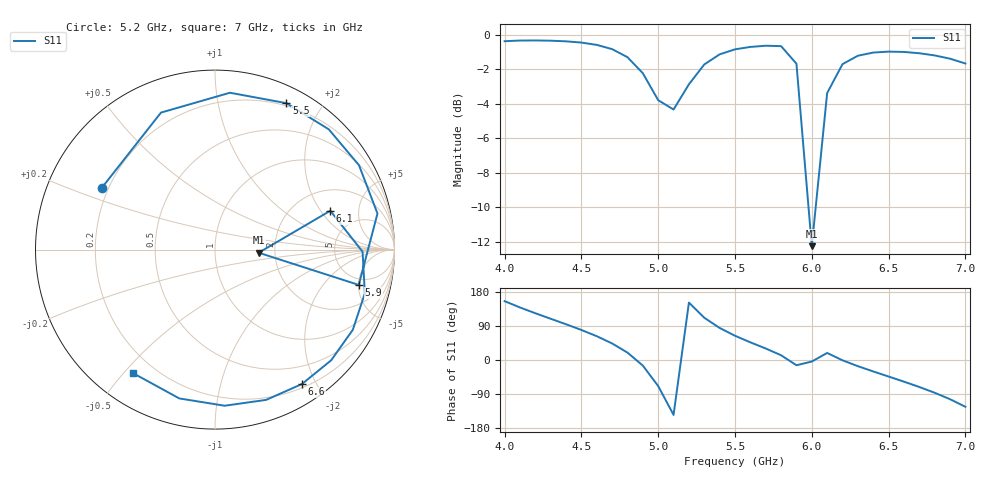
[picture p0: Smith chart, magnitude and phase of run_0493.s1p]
! Touchstone file exported from HFSS 2024.2.0
!  File:  C:/Users/wsak9/Desktop/Sim Fast/Widenad Patch/WP_AI_V1_sweep.aedt
!  Generated:  12:42:52 PM Oct 14, 2026
!  Design:  A1_model
!  Project:  WP_AI_V1_sweep
!  Setup:  Setup1
!  Solution:  Sweep
! Variables:
!  Air_gap = 4.5mm
!  Curve_Amp1 = 3.97
!  Curve_len1 = 1
!  Curve_pos = 10.145mm
!  Extra = 5.07mm
!  H_sub = 0.79mm
!  L_Patch = 16.29mm
!  L_Patch1 = 19.39mm
!  Sx = 3.59mm
!  Sy = 1.59mm
!  WS = 0.44mm
!  W_Patch = 12.64mm
!  W_Patch1 = 14.32mm
!Data is not renormalized
# GHz S MA
! Terminal data exported
! Port[1] = 1
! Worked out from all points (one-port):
!   31 points, 4 GHz to 7 GHz, reference per port
!   lowest |S11| = -12.3 dB at 6 GHz (marker M1), VSWR 1.65
!   |S11| at or under -10 dB: 5.979 GHz to 6.025 GHz (46.72 MHz wide, 0.778 % of centre)
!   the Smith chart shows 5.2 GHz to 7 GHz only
!   S11 on the Smith chart (normalised r, x): 5.2 GHz: 0.17, +0.25; 5.5 GHz: 0.17, +1.59; 5.9 GHz: 4.08, -5.02; 6.1 GHz: 3.09, +2.48; 6.6 GHz: 0.25, -1.81; 7 GHz: 0.12, -0.53
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4  0.9583 155.3
4.2  0.9631 123.4
4.4  0.9576 94.3
4.5  0.9496 79.3
4.6  0.9351 62.8
4.7  0.909 43.7
4.8  0.8612 19.5
4.9  0.7739 -14.8
5  0.6463 -68.8
5.1  0.6074 -144.9
5.2  0.7187 151.5
5.3  0.8205 111.5
5.4  0.8779 84.6
5.5  0.9077 64.0
5.6  0.9224 46.6
5.7  0.9298 30.4
5.8  0.9273 12.5
5.9  0.8248 -13.8
6  0.2439 -4.1
6.1  0.6779 18.6
6.2  0.8223 -0.8
6.3  0.8698 -16.3
6.4  0.8883 -30.2
6.6  0.892 -57.1
6.7  0.8844 -71.2
6.8  0.8715 -86.4
6.9  0.8528 -103.5
7  0.8257 -123.4
